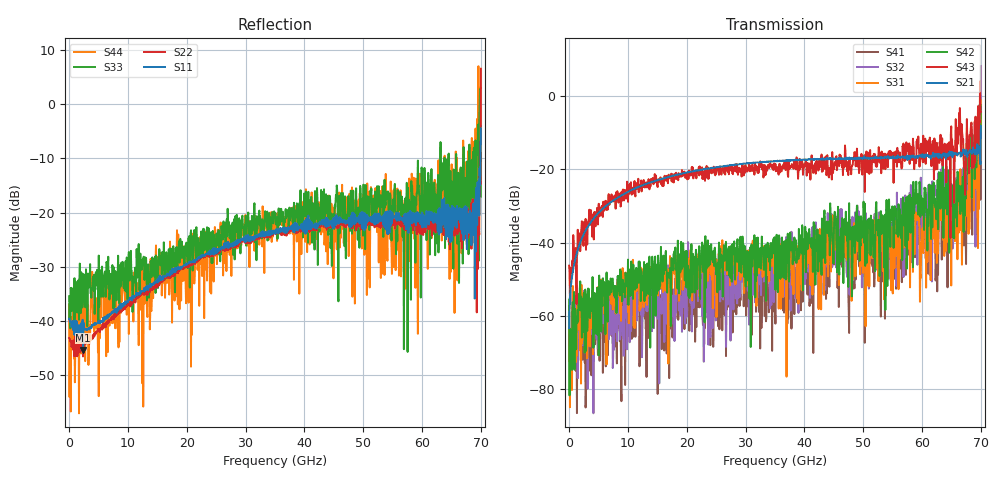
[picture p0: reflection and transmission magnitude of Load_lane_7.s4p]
!Pstart = -2.000000E+001
!Pstop = -1.000000E+001
!Pstep = 2.564103E-001
! 4/30/2026 12:54:44 PM
! C:\ANRITSUVNA\TEMP\TEMP.S4P
! CHANNEL.1
! TR.MEASUREMENT
! CORRECTED.DATA
! RF.CORRECTION: FULL.FOUR.PORT.CAL.PORT.1.2.3.4
! AVERAGING.OFF
! IF.BANDWIDTH: 100HZ
! SWEEPTYPE:  FREQ.SWEEP(Linear)
! Reference Plane Port Info
! DISTANCE:  0  m  0  m  0  m  0  m
! TIME:  0  s  0  s  0  s  0  s
! PHASE.OFFSET:  0 °  0 °  0 °  0 °
! LOSS:  0  dB  0  dB  0  dB  0  dB
! REF.LOSS:  0  dB  0  dB  0  dB  0  dB
! REF.FREQ:  0  Hz  0  Hz  0  Hz  0  Hz
! Power Info
! POWER:  -20  dBm  -20  dBm  -20  dBm  -20  dBm
! EFF.POWER:  -20  dBm  -20  dBm  -40  dBm  -40  dBm
! SOURCE.ATTEN:  0  dB  0  dB  20  dB  20  dB
! TEST.ATTEN:  0  dB  0  dB  20  dB  20  dB
! Created with skrf 1.9.0 (http://scikit-rf.org).
# Hz S RI R 50.0
!freq ReS11 ImS11 ReS12 ImS12 ReS13 ImS13
! ReS14 ImS14
! ReS21 ImS21 ReS22 ImS22 ReS23 ImS23
! ReS24 ImS24
! ReS31 ImS31 ReS32 ImS32 ReS33 ImS33
! ReS34 ImS34
! ReS41 ImS41 ReS42 ImS42 ReS43 ImS43
! ReS44 ImS44
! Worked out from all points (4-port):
!   1001 points, 10 MHz to 70 GHz, reference 50 ohm
!   strongest paths, dB at 10 MHz, 17.51 GHz, 35.01 GHz, 52.5 GHz, 70 GHz:
!     S21: -63.3, -21.9, -17.7, -16.9, -8.2
!     S43: -46.3, -21.3, -19.7, -17.3, -4.3
!     S42: -55.6, -46.3, -38.9, -36.1, -2.5
!     S31: -57.6, -52.4, -44.0, -40.7, -1.2
!     S32: -59.1, -54.4, -44.2, -39.6, 8.2
!     S41: -61.1, -52.0, -53.9, -43.9, -6.1
!   lowest |S11| = -45.3 dB at 2.39 GHz (marker M1), VSWR 1.01, Z = 49.6 + j0.38 ohm
!   |S11| at or under -10 dB: start of sweep to 69.94 GHz
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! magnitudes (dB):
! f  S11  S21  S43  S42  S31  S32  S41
! 10 MHz  -39.6  -63.3  -46.3  -55.6  -57.6  -59.1  -61.1
! 2.39 GHz  -45.3  -38.2  -39.4  -55.3  -66.5  -68.1  -62.5
! 20.03 GHz  -29.4  -20.9  -21.0  -42.3  -47.7  -49.8  -49.3
! 55.51 GHz  -20.6  -16.7  -17.8  -31.8  -43.6  -43.0  -44.2
! 65.59 GHz  -21.5  -15.7  -16.0  -33.2  -39.6  -25.1  -38.9
! 69.02 GHz  -17.8  -15.9  -18.2  -14.0  -16.6  -10.6  -19.9
! 70 GHz  -4.5  -8.2  -4.3  -2.5  -1.2  8.2  -6.1
